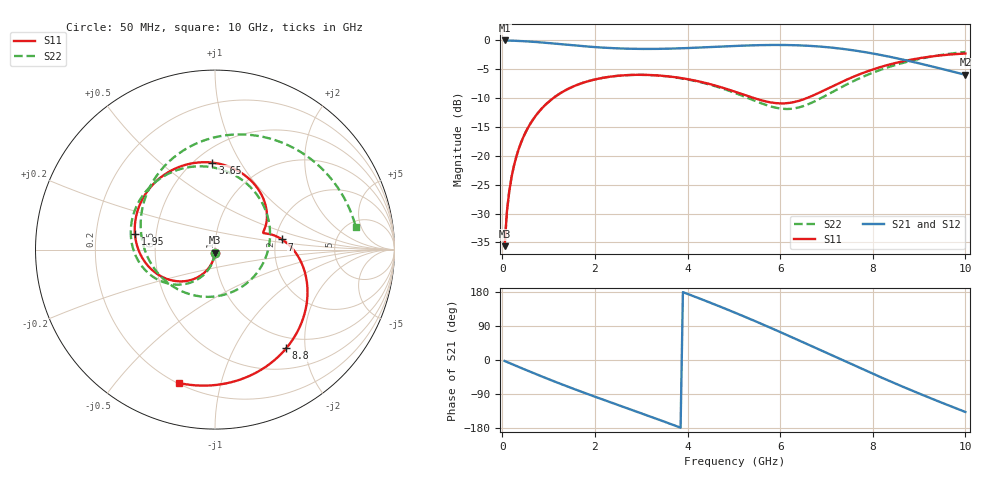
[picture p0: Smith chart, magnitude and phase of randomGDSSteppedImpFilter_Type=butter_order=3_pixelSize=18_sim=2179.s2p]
! freq	dB(S11)	phase(S11)	dB(S12)	phase(S12)
!  dB(S21)	phase(S21)	dB(S22)	phase(S22)
!S-par simulation data
#  GHz  S  DB  R 50
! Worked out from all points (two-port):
!   200 points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, 50 MHz to 10 GHz, reference 50 ohm
!   highest |S21| = 0.00 dB at 50 MHz (marker M1); lowest = -6.0 dB at 10 GHz (marker M2)
!   |S21| within 3 dB of the highest: start of sweep to 8.467 GHz
!   lowest |S11| = -35.7 dB at 50 MHz (marker M3), VSWR 1.03, Z = 49.9 - j1.64 ohm
!   |S11| at or under -10 dB: start of sweep to 1.099 GHz; 5.439 GHz to 6.573 GHz (1.134 GHz wide, 18.9 % of centre)
!   |S22| runs from -35.7 to -2.0 dB; largest |S21 - S12| = 0
!   S11 on the Smith chart (normalised r, x): 50 MHz: 1.00, -0.03; 1.95 GHz: 0.38, +0.08; 3.65 GHz: 0.61, +0.77; 7 GHz: 2.17, +0.29; 8.8 GHz: 0.81, -1.65; 10 GHz: 0.20, -0.75
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0.05  -35.66 -92.7  -0.00 -2.6  -0.00 -2.6  -35.66 -92.4
0.1  -29.65 -95.6  -0.01 -5.2  -0.01 -5.2  -29.65 -95.1
0.2  -23.68 -101.3  -0.04 -10.4  -0.04 -10.4  -23.68 -100.2
0.5  -15.98 -117.8  -0.15 -25.8  -0.15 -25.8  -15.97 -114.9
1.1  -10.00 -149.2  -0.53 -55.4  -0.53 -55.4  -9.99 -142.9
1.75  -7.32 178.7  -1.00 -85.6  -1.00 -85.6  -7.32 -171.3
1.95  -6.86 169.2  -1.13 -94.6  -1.13 -94.6  -6.86 -179.7
2.65  -6.03 136.8  -1.42 -125.3  -1.42 -125.3  -6.03 151.4
3.4  -6.09 102.9  -1.46 -158.3  -1.46 -158.3  -6.11 119.8
3.65  -6.29 91.7  -1.41 -169.5  -1.41 -169.5  -6.32 108.6
4.35  -7.30 61.7  -1.20 158.0  -1.20 158.0  -7.38 74.6
5.05  -8.95 36.1  -0.95 123.6  -0.95 123.6  -9.18 32.8
5.5  -10.15 25.0  -0.83 100.5  -0.83 100.5  -10.61 -1.3
5.9  -10.86 20.1  -0.78 79.2  -0.78 79.2  -11.65 -38.6
6.3  -10.68 18.0  -0.82 57.5  -0.82 57.5  -11.79 -81.4
6.7  -9.58 14.3  -0.97 35.5  -0.97 35.5  -10.73 -123.9
7  -8.45 8.6  -1.16 18.8  -1.16 18.8  -9.50 -152.7
7.65  -6.07 -10.5  -1.79 -17.1  -1.79 -17.1  -6.80 153.6
8.35  -4.20 -36.4  -2.81 -54.9  -2.81 -54.9  -4.60 104.3
8.8  -3.37 -54.2  -3.59 -78.3  -3.59 -78.3  -3.58 75.7
9.35  -2.69 -76.7  -4.65 -105.8  -4.65 -105.8  -2.68 43.5
10  -2.27 -105.0  -5.96 -137.1  -5.96 -137.1  -2.00 9.1
